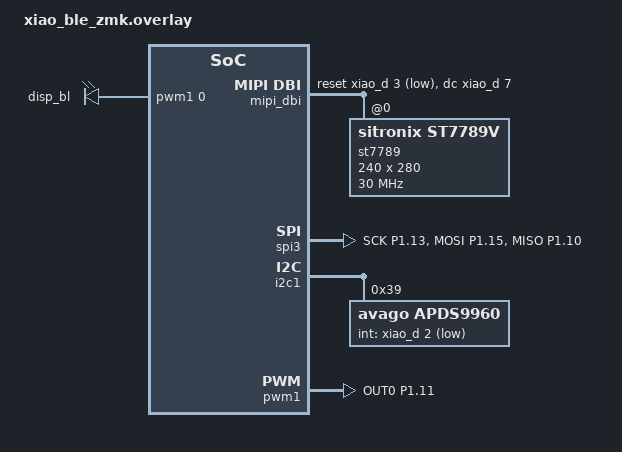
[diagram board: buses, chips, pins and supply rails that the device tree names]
/ {
   pwmleds {
      compatible = "pwm-leds";
      disp_bl: pwm_led_1 {
          pwms = <&pwm1 0 PWM_MSEC(1) PWM_POLARITY_NORMAL>;
      };
  };
};

&spi2 {
   status = "disabled";
};

&pinctrl {
   spi3_default: spi3_default {
		group1 {
			psels = <NRF_PSEL(SPIM_SCK, 1, 13)>,
				<NRF_PSEL(SPIM_MOSI, 1, 15)>,
				<NRF_PSEL(SPIM_MISO, 1, 10)>;
		};
	};

	spi3_sleep: spi3_sleep {
		group1 {
			psels = <NRF_PSEL(SPIM_SCK, 1, 13)>,
				<NRF_PSEL(SPIM_MOSI, 1, 15)>,
				<NRF_PSEL(SPIM_MISO, 1, 10)>;
			low-power-enable;
		};
	};

   pwm1_default: pwm1_default {
      group1 {
         psels = <NRF_PSEL(PWM_OUT0, 1, 11)>;
         nordic,invert;
      };
   };

   pwm1_sleep: pwm1_sleep {
      group1 {
         psels = <NRF_PSEL(PWM_OUT0, 1, 11)>;
         low-power-enable;
      };
   };
};

disp_spi: &spi3 {
   status = "okay";
   pinctrl-0 = <&spi3_default>;
	pinctrl-1 = <&spi3_sleep>;
	pinctrl-names = "default", "sleep";
   cs-gpios = <&xiao_d 9 GPIO_ACTIVE_LOW>;
};

/ {
   mipi_dbi {
       compatible = "zephyr,mipi-dbi-spi";
       spi-dev = <&spi3>;
       dc-gpios = <&xiao_d 7 GPIO_ACTIVE_HIGH>;
       reset-gpios = <&xiao_d 3 GPIO_ACTIVE_LOW>;
       write-only;
       #address-cells = <1>;
       #size-cells = <0>;

       st7789: st7789v@0 {
           compatible = "sitronix,st7789v";
           mipi-max-frequency = <30000000>;
           mipi-mode = "MIPI_DBI_MODE_SPI_4WIRE";
           reg = <0>;
           width = <240>;
           height = <280>;
           x-offset = <0>;
           y-offset = <20>;
           vcom = <0x19>;
           gctrl = <0x35>;
           vrhs = <0x12>;
           vdvs = <0x20>;
           mdac = <0x00>;
           gamma = <0x01>;
           colmod = <0x05>;
           lcm = <0x2c>;
           porch-param = [ 0c 0c 00 33 33  ];
           cmd2en-param = [ 5a 69 02 01  ];
           pwctrl1-param = [ a4 a1  ];
           pvgam-param = [ D0 04 0D 11 13 2B 3F 54 4C 18 0D 0B 1F 23  ];
           nvgam-param = [ D0 04 0C 11 13 2C 3F 44 51 2F 1F 1F 20 23  ];
           ram-param = [ 00 F0  ];
           rgb-param = [ CD 08 14  ];
       };
   };
};

&i2c1 {
   status = "okay";

   apds9960: apds9960@39 {
       compatible = "avago,apds9960";
       status = "okay";
       reg = <0x39>;
       int-gpios = <&xiao_d 2 (GPIO_ACTIVE_LOW | GPIO_PULL_UP)>;
   };
};

&pwm1 {
  status = "okay";
  pinctrl-0 = <&pwm1_default>;
  pinctrl-1 = <&pwm1_sleep>;
  pinctrl-names = "default", "sleep";
};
